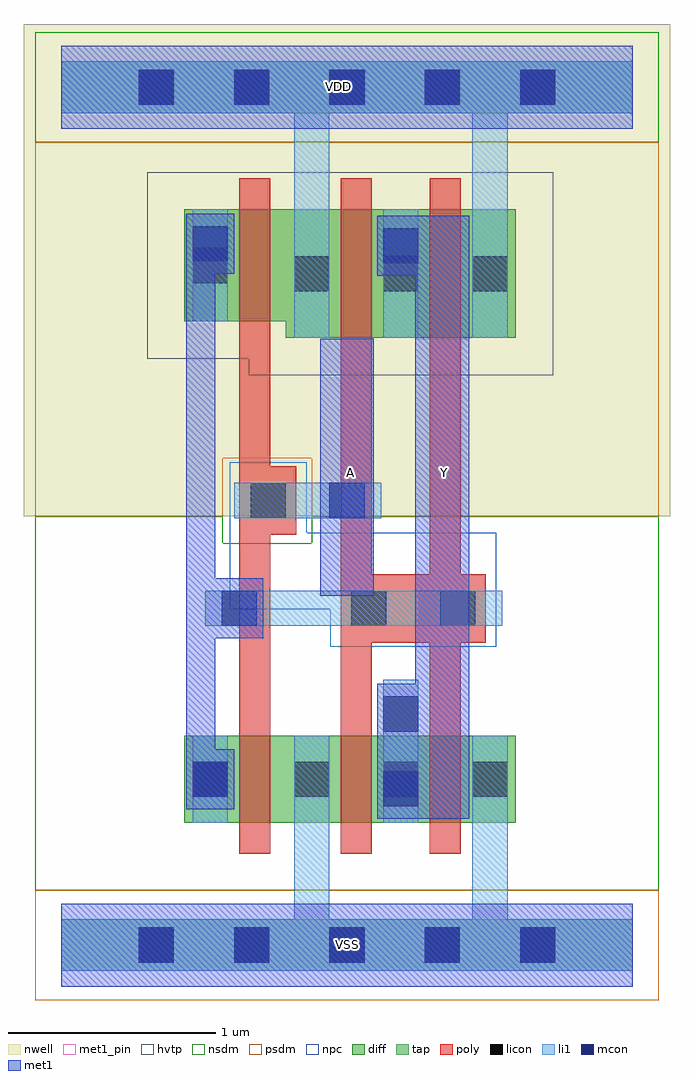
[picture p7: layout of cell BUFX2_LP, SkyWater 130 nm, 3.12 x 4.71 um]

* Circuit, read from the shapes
.subckt BUFX2_LP A VDD VSS Y
XM1 VSS A n1 VSS sky130_fd_pr__nfet_01v8 w=0.42 l=0.15
XM2 Y n1 VSS VSS sky130_fd_pr__nfet_01v8 w=0.42 l=0.15 m=2
XM3 VDD A n1 VDD sky130_fd_pr__pfet_01v8_hvt w=0.54 l=0.15
XM4 Y n1 VDD VDD sky130_fd_pr__pfet_01v8_hvt w=0.62 l=0.15 m=2
.ends

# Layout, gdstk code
from math import pi, radians
import gdstk
lib = gdstk.Library(unit=1e-6, precision=1e-09)
def R(c, l, rs):  # rectangles x0, y0, x1, y1
    for r in rs: c.add(gdstk.rectangle(r[:2], r[2:], *l))
def A(c, l, x, y, w, h, nx, ny, dx, dy):  # array of equal rectangles
    R(c, l, [(x+i*dx, y+j*dy, x+i*dx+w, y+j*dy+h) for i in range(nx) for j in range(ny)])
def P(c, l, *ps):  # polygons
    for p in ps: c.add(gdstk.Polygon(p, *l))
nwell = (64, 20)
diff = (65, 20)
tap = (65, 44)
poly = (66, 20)
licon = (66, 44)
li1 = (67, 20)
mcon = (67, 44)
met1_pin = (68, 16)
met1 = (68, 20)
hvtp = (78, 44)
nsdm = (93, 44)
psdm = (94, 20)
npc = (95, 20)

pyl1con_c_cdns_795853916 = lib.new_cell('PYL1CON_C_CDNS_795853916195')
R(pyl1con_c_cdns_795853916, poly, [(-0.135,-0.165,0.135,0.165)])
R(pyl1con_c_cdns_795853916, licon, [(-0.085,-0.085,0.085,0.085)])
R(pyl1con_c_cdns_795853916, npc, [(-0.185,-0.185,0.185,0.185)])

l1m1_c_cdns_795853916199 = lib.new_cell('L1M1_C_CDNS_795853916199')
R(l1m1_c_cdns_795853916199, li1, [(-0.085,-0.345,0.085,0.345)])
R(l1m1_c_cdns_795853916199, mcon, [(-0.085,-0.265,0.085,-0.095), (-0.085,0.095,0.085,0.265)])
R(l1m1_c_cdns_795853916199, met1, [(-0.115,-0.325,0.115,0.325)])

l1m1_c_cdns_795853916197 = lib.new_cell('L1M1_C_CDNS_795853916197')
R(l1m1_c_cdns_795853916197, li1, [(-0.085,-0.165,0.085,0.165)])
R(l1m1_c_cdns_795853916197, mcon, [(-0.085,-0.085,0.085,0.085)])
R(l1m1_c_cdns_795853916197, met1, [(-0.115,-0.145,0.115,0.145)])

l1m1_c_cdns_795853916194 = lib.new_cell('L1M1_C_CDNS_795853916194')
R(l1m1_c_cdns_795853916194, li1, [(-0.165,-0.085,0.165,0.085)])
R(l1m1_c_cdns_795853916194, mcon, [(-0.085,-0.085,0.085,0.085)])
R(l1m1_c_cdns_795853916194, met1, [(-0.115,-0.145,0.115,0.145)])

l1m1_c_cdns_795853916191 = lib.new_cell('L1M1_C_CDNS_7958539161910')
R(l1m1_c_cdns_795853916191, li1, [(-0.115,-0.165,0.055,0.165)])
R(l1m1_c_cdns_795853916191, mcon, [(-0.115,-0.085,0.055,0.085)])
R(l1m1_c_cdns_795853916191, met1, [(-0.145,-0.145,0.085,0.145)])

bufx2_lp = lib.new_cell('BUFX2_LP')
R(bufx2_lp, nwell, [(-0.18,2.07,2.94,4.445)])
R(bufx2_lp, diff, [(0.595,0.59,2.195,1.01)])
P(bufx2_lp, diff, [(1.085,2.93),(1.085,3.01),(0.595,3.01),(0.595,3.55),(2.195,3.55),(2.195,2.93)])
R(bufx2_lp, poly, [(0.86,0.44,1.01,3.7)])
P(bufx2_lp, poly, [(1.35,0.44),(1.35,3.7),(1.5,3.7),(1.5,1.79),(1.78,1.79),(1.78,3.7),(1.93,3.7),(1.93,1.79),(2.05,1.79),(2.05,1.46),(1.93,1.46),(1.93,0.44),(1.78,0.44),(1.78,1.46),(1.5,1.46),(1.5,0.44)])
A(bufx2_lp, licon, 0.375, -0.085, 0.17, 0.17, 5, 2, 0.46, 4.14)
A(bufx2_lp, licon, 1.125, 0.715, 0.17, 0.17, 3, 2, 0.43, 2.44)
R(bufx2_lp, licon, [(0.635,0.715,0.805,0.885), (0.635,3.195,0.805,3.365)])
R(bufx2_lp, li1, [(0.635,0.59,0.805,1.01), (1.555,0.59,1.725,1.01), (1.555,2.93,1.725,3.55), (0.635,3.01,0.805,3.55)])
P(bufx2_lp, li1, [(1.125,2.93),(1.125,4.015),(0,4.015),(0,4.265),(2.76,4.265),(2.76,4.015),(2.155,4.015),(2.155,2.93),(1.985,2.93),(1.985,4.015),(1.295,4.015),(1.295,2.93)],
  [(0,-0.125),(0,0.125),(1.125,0.125),(1.125,1.01),(1.295,1.01),(1.295,0.125),(1.985,0.125),(1.985,1.01),(2.155,1.01),(2.155,0.125),(2.76,0.125),(2.76,-0.125)])
A(bufx2_lp, mcon, 0.375, -0.085, 0.17, 0.17, 5, 2, 0.46, 4.14)
R(bufx2_lp, met1_pin, [(1.25,1.685,1.51,2.925), (1.71,1.685,1.97,2.925)])
P(bufx2_lp, hvtp, [(0.905,2.75),(0.905,2.83),(0.415,2.83),(0.415,3.73),(2.375,3.73),(2.375,2.75)])
R(bufx2_lp, nsdm, [(-0.125,3.875,2.885,4.405)])
P(bufx2_lp, nsdm, [(-0.125,0.265),(-0.125,2.07),(0.78,2.07),(0.78,1.94),(1.21,1.94),(1.21,2.07),(2.885,2.07),(2.885,0.265)])
R(bufx2_lp, psdm, [(-0.125,-0.265,2.885,0.265)])
P(bufx2_lp, psdm, [(-0.125,2.07),(-0.125,3.875),(2.885,3.875),(2.885,2.07),(1.21,2.07),(1.21,2.35),(0.78,2.35),(0.78,2.07)])
P(bufx2_lp, npc, [(1.3,1.44),(1.3,1.62),(0.815,1.62),(0.815,1.99),(2.1,1.99),(2.1,1.44)])
bufx2_lp.add(gdstk.FlexPath([(0,4.14),(2.76,4.14)], 0.4, ends="flush", simple_path=True, layer=68, datatype=20))  # met1
bufx2_lp.add(gdstk.FlexPath([(0,0),(2.76,0)], 0.4, ends="flush", simple_path=True, layer=68, datatype=20))  # met1
bufx2_lp.add(gdstk.FlexPath([(0.675,0.8),(0.675,3.46)], 0.14, ends="extended", simple_path=True, layer=68, datatype=20))  # met1
bufx2_lp.add(gdstk.FlexPath([(1.38,1.685),(1.38,2.925)], 0.26, ends="flush", simple_path=True, layer=68, datatype=20))  # met1
bufx2_lp.add(gdstk.FlexPath([(1.84,0.61),(1.84,3.52)], 0.26, ends="flush", simple_path=True, layer=68, datatype=20))  # met1
bufx2_lp.add(gdstk.FlexPath([(0.835,2.145),(1.38,2.145)], 0.17, ends="flush", simple_path=True, layer=67, datatype=20))  # li1
bufx2_lp.add(gdstk.FlexPath([(0.765,1.625),(2.13,1.625)], 0.17, ends="flush", simple_path=True, layer=67, datatype=20))  # li1
bufx2_lp.add(gdstk.FlexPath([(0,4.14),(2.76,4.14)], 0.25, ends="flush", simple_path=True, layer=65, datatype=44))  # tap
bufx2_lp.add(gdstk.FlexPath([(0,0),(2.76,0)], 0.25, ends="flush", simple_path=True, layer=65, datatype=44))  # tap
bufx2_lp.add(gdstk.FlexPath([(0,4.14),(2.76,4.14)], 0.4, ends="flush", simple_path=True, layer=68, datatype=16))  # met1_pin
bufx2_lp.add(gdstk.FlexPath([(0,0),(2.76,0)], 0.4, ends="flush", simple_path=True, layer=68, datatype=16))  # met1_pin
bufx2_lp.add(gdstk.Reference(pyl1con_c_cdns_795853916, (1.485,1.625), rotation=pi))
bufx2_lp.add(gdstk.Reference(pyl1con_c_cdns_795853916, (1,2.145), x_reflection=True))
bufx2_lp.add(gdstk.Reference(pyl1con_c_cdns_795853916, (1.915,1.625), rotation=pi))
bufx2_lp.add(gdstk.Reference(l1m1_c_cdns_795853916199, (1.64,0.935)))
bufx2_lp.add(gdstk.Reference(l1m1_c_cdns_795853916197, (0.72,3.385), rotation=pi, x_reflection=True))
bufx2_lp.add(gdstk.Reference(l1m1_c_cdns_795853916197, (1.64,3.375)))
bufx2_lp.add(gdstk.Reference(l1m1_c_cdns_795853916194, (0.86,1.625)))
bufx2_lp.add(gdstk.Reference(l1m1_c_cdns_795853916194, (1.38,2.145), x_reflection=True))
bufx2_lp.add(gdstk.Reference(l1m1_c_cdns_795853916191, (0.69,0.8), rotation=pi, x_reflection=True))
bufx2_lp.add(gdstk.Label('Y', (1.85,2.28), layer=68, texttype=5))
bufx2_lp.add(gdstk.Label('A', (1.395,2.28), layer=68, texttype=5))
bufx2_lp.add(gdstk.Label('VDD', (1.34,4.145), layer=68, texttype=5))
bufx2_lp.add(gdstk.Label('VSS', (1.38,0.005), layer=68, texttype=5))

lib.write_gds('BUFX2_LP.gds')
